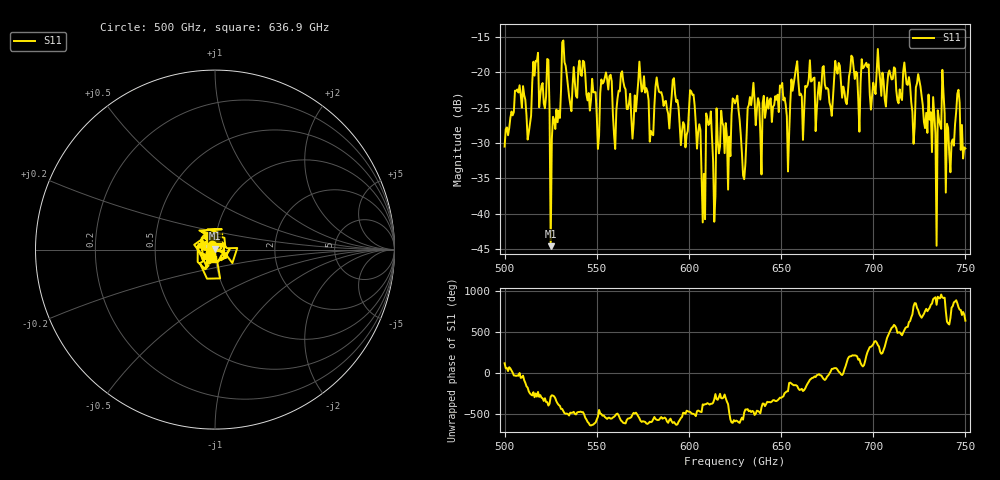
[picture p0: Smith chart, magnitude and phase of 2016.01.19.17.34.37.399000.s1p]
!Created with skrf (http://scikit-rf.org).
# GHz S RI R 50.0
!freq ReS11 ImS11
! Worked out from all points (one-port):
!   401 points, 500 GHz to 750 GHz, reference 50 ohm
!   lowest |S11| = -44.6 dB at 525 GHz (marker M1), VSWR 1.01, Z = 50.2 + j0.556 ohm
!   |S11| at or under -10 dB: start of sweep to end of sweep
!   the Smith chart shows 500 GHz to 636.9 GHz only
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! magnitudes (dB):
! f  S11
! 500 GHz  -30.5
! 506.9 GHz  -22.4
! 513.1 GHz  -28.5
! 516.9 GHz  -18.4
! 525 GHz  -44.6
! 531.2 GHz  -15.8
! 550 GHz  -26.1
! 562.5 GHz  -22.7
! 574.4 GHz  -22.7
! 580 GHz  -28.8
! 583.1 GHz  -21.9
! 593.8 GHz  -23.9
! 601.9 GHz  -23.2
! 607.5 GHz  -41.3
! 610.6 GHz  -27.5
! 614.4 GHz  -37.5
! 625 GHz  -24.4
! 630 GHz  -35.1
! 633.8 GHz  -24.7
! 653.8 GHz  -34.0
! 656.2 GHz  -22.6
! 687.5 GHz  -19.7
! 718.8 GHz  -21.8
! 733.1 GHz  -26.0
! 737.5 GHz  -19.7
! 742.5 GHz  -29.9
! 745.6 GHz  -23.0
! 750 GHz  -30.8
